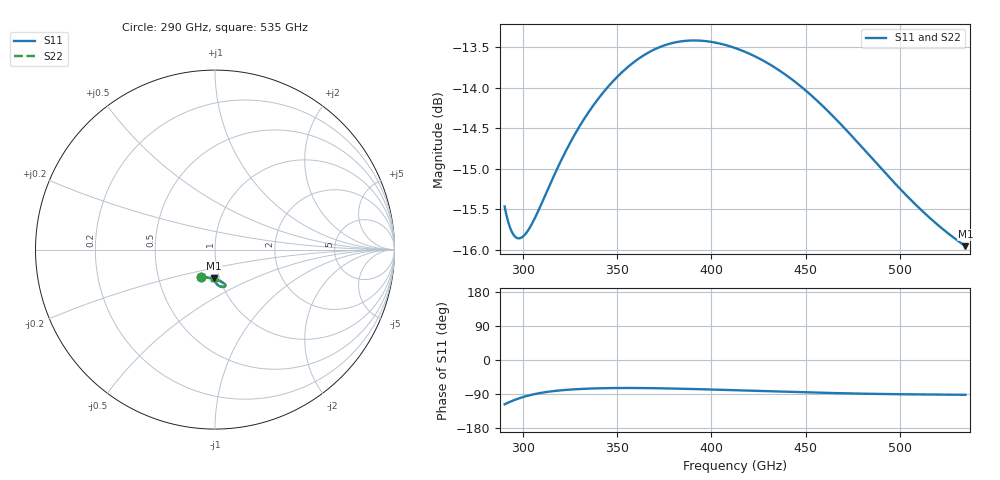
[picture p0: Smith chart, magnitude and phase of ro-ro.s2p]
!Created with skrf (http://scikit-rf.org).
# GHz S RI R 50.0
!freq ReS11 ImS11 ReS21 ImS21 ReS12 ImS12 ReS22 ImS22
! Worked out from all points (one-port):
!   1201 points, 290 GHz to 535 GHz, reference 50 ohm
!   lowest |S11| = -16.0 dB at 535 GHz (marker M1), VSWR 1.38, Z = 47.1 - j15.4 ohm
!   |S11| at or under -10 dB: start of sweep to end of sweep
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290  -0.0762 -0.1504  0 0  0 0  -0.0762 -0.1504
292.8583  -0.0571 -0.1534  0 0  0 0  -0.0571 -0.1534
295.1042  -0.0441 -0.1556  0 0  0 0  -0.0441 -0.1556
297.7583  -0.0309 -0.1581  0 0  0 0  -0.0309 -0.1581
300.8208  -0.0178 -0.161  0 0  0 0  -0.0178 -0.161
306.9458  0.00304 -0.1666  0 0  0 0  0.00304 -0.1666
313.8875  0.0202 -0.1725  0 0  0 0  0.0202 -0.1725
321.85  0.0341 -0.1785  0 0  0 0  0.0341 -0.1785
331.0375  0.045 -0.1845  0 0  0 0  0.045 -0.1845
340.6333  0.0522 -0.1899  0 0  0 0  0.0522 -0.1899
350.8417  0.0564 -0.1952  0 0  0 0  0.0564 -0.1952
361.2542  0.0575 -0.1998  0 0  0 0  0.0575 -0.1998
371.6667  0.0562 -0.2036  0 0  0 0  0.0562 -0.2036
381.0583  0.0533 -0.206  0 0  0 0  0.0533 -0.206
390.8583  0.0492 -0.2076  0 0  0 0  0.0492 -0.2076
412.5  0.0379 -0.2077  0 0  0 0  0.0379 -0.2077
433.1208  0.026 -0.2039  0 0  0 0  0.026 -0.2039
453.5375  0.0148 -0.1966  0 0  0 0  0.0148 -0.1966
474.1583  0.00571 -0.1865  0 0  0 0  0.00571 -0.1865
494.1667  0.000123 -0.1759  0 0  0 0  0.000123 -0.1759
515.8083  -0.00308 -0.1659  0 0  0 0  -0.00308 -0.1659
535  -0.00503 -0.1593  0 0  0 0  -0.00503 -0.1593
